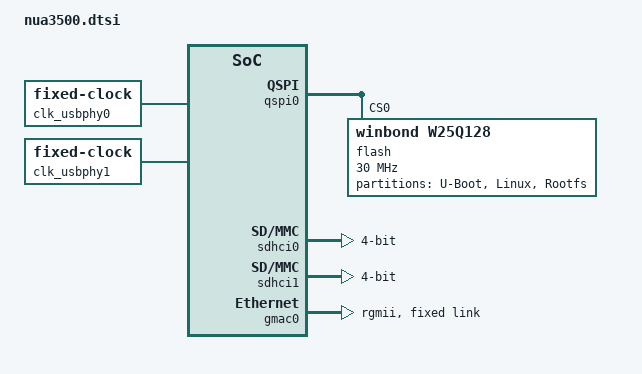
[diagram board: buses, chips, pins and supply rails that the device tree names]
/*
 * Device Tree Source for NUA3500
 *
 * Copyright (C) 2020 Nuvoton Technology Corp.
 *
 * The code contained herein is licensed under the GNU General Public
 * License. You may obtain a copy of the GNU General Public License
 * Version 2 or later at the following locations:
 *
 * http://www.opensource.org/licenses/gpl-license.html
 * http://www.gnu.org/copyleft/gpl.html
 */
/dts-v1/;

#include <dt-bindings/interrupt-controller/arm-gic.h>

#include <dt-bindings/input/input.h>

#include <dt-bindings/clock/nua3500-clk.h>
#include <dt-bindings/pinctrl/nua3500-pinfunc.h>
#include <dt-bindings/reset/nuvoton,nua3500-reset.h>

//#define ENABLE_PSCI
/{
	compatible = "nuvoton,nua3500";
	interrupt-parent = <&gic>;
	#address-cells = <2>;
	#size-cells = <2>;

	cpus {
		#address-cells = <2>;
		#size-cells = <0>;

		/* We have 1 clusters having 2 Cortex-A35 cores */
		cpu0: cpu@0 {
			device_type = "cpu";
			compatible = "arm,cortex-a35";
			reg = <0x0 0x0>;
#ifdef ENABLE_PSCI
			enable-method = "psci";
#else
			enable-method = "spin-table";
			cpu-release-addr = <0x0 0x8000fff8>;
#endif
			next-level-cache = <&L2_0>;
		};
#if 0
		cpu1: cpu@1 {
			device_type = "cpu";
			compatible = "arm,cortex-a35";
			reg = <0x0 0x1>;
#ifdef ENABLE_PSCI
			enable-method = "psci";
#else
			enable-method = "spin-table";
			cpu-release-addr = <0x0 0x8000fff8>;
#endif
			next-level-cache = <&L2_0>;
		};
#endif
		L2_0: l2-cache0 {
			compatible = "cache";
			cache-level = <2>;
		};
	};

#if 0
	pmu {
		interrupt-affinity = <&cpu0>, <&cpu1>;
	};
#endif

#ifdef ENABLE_PSCI
	psci {
		compatible = "arm,psci";
		cpu_on = <0xC4000003>;
		method = "smc";
	};
#endif

	clk_hxt:hxt {
		compatible = "fixed-clock";
		#clock-cells = <0>;
		clock-frequency = <24000000>;
		clock-output-names = "hxt_gate";
	};

	clk_lxt:lxt {
		compatible = "fixed-clock";
		#clock-cells = <0>;
		clock-frequency = <32768>;
		clock-output-names = "lxt_gate";
	};

	clk_hirc:hirc {
		compatible = "fixed-clock";
		#clock-cells = <0>;
		clock-frequency = <12000000>;
		clock-output-names = "hirc_gate";
	};

	clk_lirc:lirc {
		compatible = "fixed-clock";
		#clock-cells = <0>;
		clock-frequency = <32000>;
		clock-output-names = "lirc_gate";
	};

	clk_usbphy0:usbphy0 {
		compatible = "fixed-clock";
		#clock-cells = <0>;
		clock-frequency = <480000000>;
		clock-output-names = "usbphy0";
	};
	clk_usbphy1:usbphy1 {
		compatible = "fixed-clock";
		#clock-cells = <0>;
		clock-frequency = <480000000>;
		clock-output-names = "usbphy1";
	};

	timer {
		compatible = "arm,armv8-timer";
		interrupts = <GIC_PPI 13 (GIC_CPU_MASK_SIMPLE(4) | IRQ_TYPE_LEVEL_LOW)>, /* Physical Secure */
				<GIC_PPI 14 (GIC_CPU_MASK_SIMPLE(4) | IRQ_TYPE_LEVEL_LOW)>, /* Physical Non-Secure */
				<GIC_PPI 11 (GIC_CPU_MASK_SIMPLE(4) | IRQ_TYPE_LEVEL_LOW)>, /* Virtual */
				<GIC_PPI 10 (GIC_CPU_MASK_SIMPLE(4) | IRQ_TYPE_LEVEL_LOW)>; /* Hypervisor */
		clock-frequency = <12000000>;
		interrupt-parent = <&gic>;
	};

	gic: interrupt-controller@50800000 {
		compatible = "arm,gic-400";
		#interrupt-cells = <3>;
		interrupt-parent = <&gic>;
		interrupt-controller;
		reg =   <0x0 0x50801000 0 0x1000>, /* GICD */
			<0x0 0x50802000 0 0x2000>, /* GICC */
			<0x0 0x50804000 0 0x2000>, /* GICH */
			<0x0 0x50806000 0 0x2000>; /* GICV */
		interrupts = <GIC_PPI 9 (GIC_CPU_MASK_RAW(0x13) | IRQ_TYPE_LEVEL_HIGH)>;
	};

	clk: clock-controller@40460200 {
		compatible = "nuvoton,nua3500-clk", "syscon", "simple-mfd";
		reg = <0x00000000 0x40460200 0x0 0x100>;
		#clock-cells = <1>;
		clocks = <&clk_hxt> ,<&clk_lxt>, <&clk_hirc>, <&clk_lirc>, <&clk_usbphy0>, <&clk_usbphy1>;
		clock-names = "hxt_gate", "lxt_gate", "hirc_gate", "lirc_gate", "usbphy0", "usbphy1";
		nuvoton,sys = <&sys>;
	};

	sys: system-management@40460000 {
		compatible = "nuvoton,nua3500-sys", "syscon", "simple-mfd";
		reg = <0x0  0x40460000  0x0  0x200>;
	};

	reset: reset-controller {
		compatible = "nuvoton,nua3500-reset";
		nuvoton,nua3500-sys = <&sys>;
		#reset-cells = <1>;
	};

	pinctrl: pinctrl {
		compatible = "nuvoton,nua3500-pinctrl";
		nuvoton,sys = <&sys>;
		#address-cells = <2>;
		#size-cells = <2>;
		ranges;
		status = "okay";

		gpioa: gpioa@40040000 {
			reg = <0x0 0x40040000 0 0x40>,
			      <0x0 0x40040800 0 0x40>;
			interrupts = <GIC_SPI  14 IRQ_TYPE_LEVEL_HIGH>;
			clocks = <&clk gpa_gate>;
			gpio-controller;
			#gpio-cells = <2>;
			interrupt-controller;
			#interrupt-cells = <2>;
		};

		gpiob: gpiob@40040040 {
			reg = <0x0 0x40040040 0 0x40>,
			      <0x0 0x40040840 0 0x40>;
			interrupts = <GIC_SPI  15 IRQ_TYPE_LEVEL_HIGH>;
			clocks = <&clk gpb_gate>;
			gpio-controller;
			#gpio-cells = <2>;
			interrupt-controller;
			#interrupt-cells = <2>;
		};

		gpioc: gpioc@40040080 {
			reg = <0x0 0x40040080 0 0x40>,
			      <0x0 0x40040880 0 0x40>;
			interrupts = <GIC_SPI  16 IRQ_TYPE_LEVEL_HIGH>;
			clocks = <&clk gpc_gate>;
			gpio-controller;
			#gpio-cells = <2>;
			interrupt-controller;
			#interrupt-cells = <2>;
		};

		gpiod: gpiod@400400c0 {
			reg = <0x0 0x400400C0 0 0x40>,
			      <0x0 0x400408C0 0 0x40>;
			interrupts = <GIC_SPI  17 IRQ_TYPE_LEVEL_HIGH>;
			clocks = <&clk gpd_gate>;
			gpio-controller;
			#gpio-cells = <2>;
			interrupt-controller;
			#interrupt-cells = <2>;
		};

		gpioe: gpioe@40040100 {
			reg = <0x0 0x40040100 0 0x40>,
			      <0x0 0x40040900 0 0x40>;
			interrupts = <GIC_SPI  73 IRQ_TYPE_LEVEL_HIGH>;
			clocks = <&clk gpe_gate>;
			#gpio-cells = <2>;
			gpio-ranges = <&pinctrl 0 64 16>;
			gpio-controller;
			interrupt-controller;
			#interrupt-cells = <2>;
		};

		gpiof: gpiof@40040140 {
			reg = <0x0 0x40040140 0 0x40>,
			      <0x0 0x40040940 0 0x40>;
			interrupts = <GIC_SPI  74 IRQ_TYPE_LEVEL_HIGH>;
			clocks = <&clk gpf_gate>;
			gpio-controller;
			#gpio-cells = <2>;
			interrupt-controller;
			#interrupt-cells = <2>;
		};

		gpiog: gpiog@40040180 {
			reg = <0x0 0x40040180 0 0x40>,
			      <0x0 0x40040980 0 0x40>;
			interrupts = <GIC_SPI  75 IRQ_TYPE_LEVEL_HIGH>;
			clocks = <&clk gpg_gate>;
			#gpio-cells = <2>;
			gpio-ranges = <&pinctrl 0 96 16>;
			gpio-controller;
			interrupt-controller;
			#interrupt-cells = <2>;
		};

		gpioh: gpioh@400401C0 {
			reg = <0x0 0x400401C0 0 0x40>,
			      <0x0 0x400409C0 0 0x40>;
			interrupts = <GIC_SPI  76 IRQ_TYPE_LEVEL_HIGH>;
			clocks = <&clk gph_gate>;
			gpio-controller;
			#gpio-cells = <2>;
			interrupt-controller;
			#interrupt-cells = <2>;
		};

		gpioi: gpioi@40040200 {
			reg = <0x0 0x40040200 0 0x40>,
			      <0x0 0x40040A00 0 0x40>;
			interrupts = <GIC_SPI  77 IRQ_TYPE_LEVEL_HIGH>;
			clocks = <&clk gpi_gate>;
			gpio-controller;
			#gpio-cells = <2>;
			interrupt-controller;
			#interrupt-cells = <2>;
		};

		gpioj: gpioj@40040240 {
			reg = <0x0 0x40040240 0 0x40>,
			      <0x0 0x40040A40 0 0x40>;
			interrupts = <GIC_SPI  78 IRQ_TYPE_LEVEL_HIGH>;
			clocks = <&clk gpj_gate>;
			gpio-controller;
			#gpio-cells = <2>;
			interrupt-controller;
			#interrupt-cells = <2>;
		};

		gpiok: gpiok@40040280 {
			reg = <0x0 0x40040280 0 0x40>,
			      <0x0 0x40040A80 0 0x40>;
			interrupts = <GIC_SPI  102 IRQ_TYPE_LEVEL_HIGH>;
			clocks = <&clk gpk_gate>;
			gpio-controller;
			#gpio-cells = <2>;
			interrupt-controller;
			#interrupt-cells = <2>;
		};

		gpiol: gpiol@400402C0 {
			reg = <0x0 0x400402C0 0 0x40>,
			      <0x0 0x40040AC0 0 0x40>;
			interrupts = <GIC_SPI  103 IRQ_TYPE_LEVEL_HIGH>;
			clocks = <&clk gpl_gate>;
			gpio-controller;
			#gpio-cells = <2>;
			interrupt-controller;
			#interrupt-cells = <2>;
		};

		gpiom: gpiom@40040300 {
			reg = <0x0 0x40040300 0 0x40>,
			      <0x0 0x40040B00 0 0x40>;
			interrupts = <GIC_SPI  104 IRQ_TYPE_LEVEL_HIGH>;
			clocks = <&clk gpm_gate>;
			gpio-controller;
			#gpio-cells = <2>;
			interrupt-controller;
			#interrupt-cells = <2>;
		};

		gpion: gpion@40040340 {
			reg = <0x0 0x40040340 0 0x40>,
			      <0x0 0x40040B40 0 0x40>;
			interrupts = <GIC_SPI  105 IRQ_TYPE_LEVEL_HIGH>;
			clocks = <&clk gpn_gate>;
			gpio-controller;
			#gpio-cells = <2>;
			interrupt-controller;
			#interrupt-cells = <2>;
		};

		pcfg_default: pcfg-default {
			//u-boot,dm-pre-reloc;
			slew-rate = <0>;
			input-schmitt-disable;
			bias-disable;
		};

		sdhci0 {
			pinctrl_sdhci0: sdhci0grp{
				nuvoton,pins =
					<SYS_GPC_MFPL_PC0MFP_eMMC0_CMD   &pcfg_default>,
					<SYS_GPC_MFPL_PC1MFP_eMMC0_CLK   &pcfg_default>,
					<SYS_GPC_MFPL_PC2MFP_eMMC0_DAT0  &pcfg_default>,
					<SYS_GPC_MFPL_PC3MFP_eMMC0_DAT1  &pcfg_default>,
					<SYS_GPC_MFPL_PC4MFP_eMMC0_DAT2  &pcfg_default>,
					<SYS_GPC_MFPL_PC5MFP_eMMC0_DAT3  &pcfg_default>,
					<SYS_GPC_MFPL_PC6MFP_SD0_nCD     &pcfg_default>,
					<SYS_GPC_MFPL_PC7MFP_SD0_WP      &pcfg_default>,
					<SYS_GPC_MFPH_PC8MFP_eMMC0_DAT4  &pcfg_default>,
					<SYS_GPC_MFPH_PC9MFP_eMMC0_DAT5  &pcfg_default>,
					<SYS_GPC_MFPH_PC10MFP_eMMC0_DAT6 &pcfg_default>,
					<SYS_GPC_MFPH_PC11MFP_eMMC0_DAT7 &pcfg_default>;
			};
		};

		sdhci1 {
			pinctrl_sdhci1: sdhci1grp{
				nuvoton,pins =
					<SYS_GPJ_MFPL_PJ0MFP_eMMC1_DAT4  &pcfg_default>,
					<SYS_GPJ_MFPL_PJ1MFP_eMMC1_DAT5  &pcfg_default>,
					<SYS_GPJ_MFPL_PJ2MFP_eMMC1_DAT6  &pcfg_default>,
					<SYS_GPJ_MFPL_PJ3MFP_eMMC1_DAT7  &pcfg_default>,
					<SYS_GPJ_MFPL_PJ4MFP_SD1_WP      &pcfg_default>,
					<SYS_GPJ_MFPL_PJ5MFP_SD1_nCD     &pcfg_default>,
					<SYS_GPJ_MFPL_PJ6MFP_eMMC1_CMD   &pcfg_default>,
					<SYS_GPJ_MFPL_PJ7MFP_eMMC1_CLK   &pcfg_default>,
					<SYS_GPJ_MFPH_PJ8MFP_eMMC1_DAT0  &pcfg_default>,
					<SYS_GPJ_MFPH_PJ9MFP_eMMC1_DAT1  &pcfg_default>,
					<SYS_GPJ_MFPH_PJ10MFP_eMMC1_DAT2 &pcfg_default>,
					<SYS_GPJ_MFPH_PJ11MFP_eMMC1_DAT3 &pcfg_default>;
			};
		};

		gmac0 {
			pinctrl_gmac0: gmac0grp{
				nuvoton,pins =
				<SYS_GPE_MFPL_PE0MFP_RGMII0_MDC    &pcfg_default>,
				<SYS_GPE_MFPL_PE1MFP_RGMII0_MDIO   &pcfg_default>,
				<SYS_GPE_MFPL_PE2MFP_RGMII0_TXCTL  &pcfg_default>,
				<SYS_GPE_MFPL_PE3MFP_RGMII0_TXD0   &pcfg_default>,
				<SYS_GPE_MFPL_PE4MFP_RGMII0_TXD1   &pcfg_default>,
				<SYS_GPE_MFPL_PE5MFP_RGMII0_RXCLK  &pcfg_default>,
				<SYS_GPE_MFPL_PE6MFP_RGMII0_RXCTL  &pcfg_default>,
				<SYS_GPE_MFPL_PE7MFP_RGMII0_RXD0   &pcfg_default>,
				<SYS_GPE_MFPH_PE8MFP_RGMII0_RXD1   &pcfg_default>,
				<SYS_GPE_MFPH_PE9MFP_RGMII0_RXD2   &pcfg_default>,
				<SYS_GPE_MFPH_PE10MFP_RGMII0_RXD3  &pcfg_default>,
				<SYS_GPE_MFPH_PE11MFP_RGMII0_TXCLK &pcfg_default>,
				<SYS_GPE_MFPH_PE12MFP_RGMII0_TXD2  &pcfg_default>,
				<SYS_GPE_MFPH_PE13MFP_RGMII0_TXD3  &pcfg_default>;
			};
		};

		uart0 {
			pinctrl_uart0: uart0grp{
				nuvoton,pins =
				<SYS_GPE_MFPH_PE14MFP_UART0_TXD    &pcfg_default>,
				<SYS_GPE_MFPH_PE15MFP_UART0_RXD    &pcfg_default>;
			};
		};

		i2c0 {
			pinctrl_i2c0: i2c0grp{
				nuvoton,pins =
				<SYS_GPC_MFPH_PC8MFP_I2C0_SDA    &pcfg_default>,
				<SYS_GPC_MFPH_PC9MFP_I2C0_SCL    &pcfg_default>;
			};
		};

	};

	uart0: serial@40700000 {
		u-boot,dm-pre-reloc;
		pinctrl-names = "default";
		pinctrl-0 = <&pinctrl_uart0>;
		compatible = "nuvoton,nua3500-uart";
		reg = <0x0 0x40700000 0x0 0x10000>;
		id = <0>;
		status = "disabled";
	};

	ehci0: ehci@40140000 {
		compatible = "nuvoton,nua3500-ehci0";
		reg = <0x0 0x40140000 0x0 0x1000>;
		interrupts = <GIC_SPI 33 IRQ_TYPE_LEVEL_HIGH>;
		status = "disabled";
	};

	ehci1: ehci@401C0000 {
		compatible = "nuvoton,nua3500-ehci1";
		reg = <0x0 0x401C0000 0x0 0x1000>;
		interrupts = <GIC_SPI 34 IRQ_TYPE_LEVEL_HIGH>;
		status = "disabled";
	};

	ohci0: ohci@40150000 {
		compatible = "nuvoton,nua3500-ohci0";
		reg = <0x0 0x40150000 0x0 0x1000>;
		interrupts = <GIC_SPI 35 IRQ_TYPE_LEVEL_HIGH>;
		status = "disabled";
	};

	ohci1: ohci@401D0000 {
		compatible = "nuvoton,nua3500-ohci1";
		reg = <0x0 0x401D0000 0x0 0x1000>;
		interrupts = <GIC_SPI 36 IRQ_TYPE_LEVEL_HIGH>;
		status = "disabled";
	};

	rtc: rtc@40410000 {
		compatible = "nuvoton,nua3500-rtc";
		reg = <0x0 0x40410000 0x0 0x10000>;
		interrupts = <GIC_SPI 5 IRQ_TYPE_EDGE_RISING>;
		status = "disabled";
	};

	i2c0: i2c@40800000 {
		compatible = "nuvoton,nua3500-i2c";
		reg = <0x0 0x40800000 0x0 0x10000>;
		pinctrl-names = "default";
		pinctrl-0 = <&pinctrl_i2c0>;
		interrupts = <GIC_SPI 13 IRQ_TYPE_EDGE_RISING>;
		clocks = <&clk i2c0_gate>;
		clock-frequency = <100000>;
		status = "disabled";
	};

	qspi0: qspi@40680000 {
		compatible = "nuvoton,nua3500-qspi";
		reg = <0x0 0x40680000 0x0 0x10000>;
		interrupts = <GIC_SPI 89 IRQ_TYPE_LEVEL_HIGH>;
		/*interrupt-names = "qspi0irq";*/
		num_cs = <2>;
		lsb = <0>;
		txneg = <1>;
		clkpol = <0>;
		rxneg = <0>;
		divider = <3>;
		sleep = <0>;
		txbitlen = <8>;
		bus_num = <0>;
		status = "okay";

		flash@0 {
			#address-cells = <1>;
			#size-cells = <1>;
			compatible = "winbond,w25q128";
			spi-max-frequency = <30000000>;
			reg = <0 0x0 0x2000000>;

			partition@0 {
				label = "U-Boot";
				reg = <0x0 0x40000>;
			};
			partition@40000 {
				label = "Linux";
				reg = <0x40000 0x40000>;
			};
			partition@80000 {
				label = "Rootfs";
				reg = <0x80000 0x40000>;
			};
		};
	};

	sdhci0: sdhci@40180000 {
		pinctrl-names = "default";
		pinctrl-0 = <&pinctrl_sdhci0>;
		//u-boot,dm-pre-reloc;
		compatible = "snps,dwcmshc-sdhci";
		reg = <0x0 0x40180000 0x0 0x2000>;
		interrupts = <GIC_SPI 30 IRQ_TYPE_LEVEL_HIGH>;
		/* clocks = <&emmcclk>; */
		bus-width = <4>;
		max-frequency = <200000000>;
		sdhci,auto-cmd12;
		no-1-8-v;
		status = "okay";
	};

	sdhci1: sdhci@40190000 {
		pinctrl-names = "default";
		pinctrl-0 = <&pinctrl_sdhci1>;
		//u-boot,dm-pre-reloc;
		compatible = "snps,dwcmshc-sdhci";
		reg = <0x0 0x40180000 0x0 0x2000>;
		interrupts = <GIC_SPI 30 IRQ_TYPE_LEVEL_HIGH>;
		/* clocks = <&emmcclk>; */
		bus-width = <4>;
		max-frequency = <200000000>;
		sdhci,auto-cmd12;
		no-1-8-v;
		status = "okay";
	};

	gmac0: ethernet@40120000 {
		compatible = "nuvoton,nua3500-gmac";
		reg = <0x0 0x40120000 0x0 0x10000>;
		interrupts = <GIC_SPI 23 IRQ_TYPE_LEVEL_HIGH>;
		interrupt-names = "macirq";
		mac-address = [ 00 11 22 33 44 55 ];
		phy-mode = "rgmii";
		nuvoton,nua3500-sys = <&sys>;
		pinctrl-names = "default";
		pinctrl-0 = <&pinctrl_gmac0>;
#if 0
		clocks = <&clk emac0_gate>, <&clk epll_div8>;
		clock-names = "stmmaceth", "ptp_ref";
#endif
		resets = <&reset NUA3500_RESET_GMAC0>;
		reset-names = "stmmaceth";

		mac-id = <0>;
		status = "okay";
		fixed-link {
			speed = <1000>;
			full-duplex;
		};
	};

};
